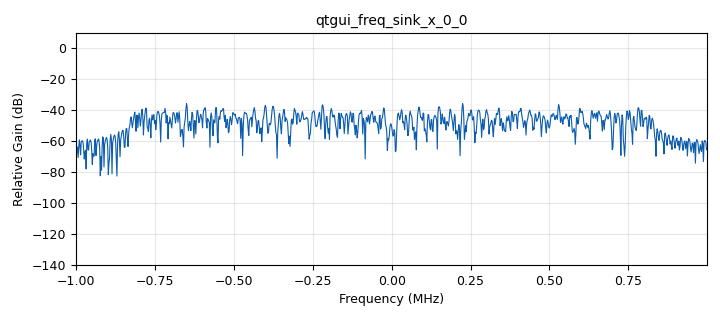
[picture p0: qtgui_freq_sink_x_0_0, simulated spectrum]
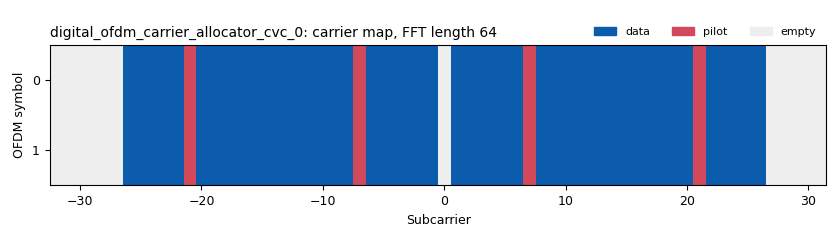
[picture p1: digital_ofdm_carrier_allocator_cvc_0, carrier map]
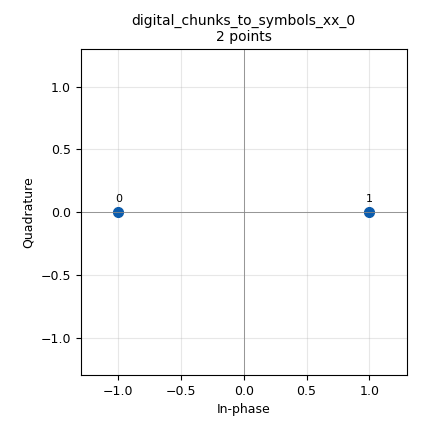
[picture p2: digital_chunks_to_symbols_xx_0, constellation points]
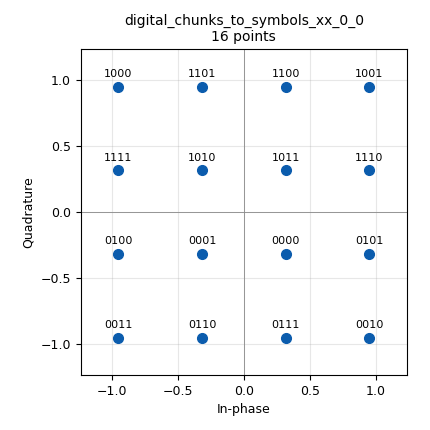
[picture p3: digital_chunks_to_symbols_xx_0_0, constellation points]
options:
  parameters:
    category: Custom
    description: Example of an OFDM receiver
    generate_options: qt_gui
    id: tx_rx_ofdm
    output_language: python
    title: OFDM Tx Rx
  states: {}

blocks:
- name: central_freq
  id: variable
  parameters:
    value: '500000000'
  states: {}
- name: fft_len
  id: variable
  parameters:
    value: '64'
  states: {}
- name: hdr_format
  id: variable
  parameters:
    value: digital.header_format_ofdm(occupied_carriers, 1, length_tag_key,)
  states: {}
- name: header_equalizer
  id: variable
  parameters:
    value: digital.ofdm_equalizer_simpledfe(fft_len, header_mod.base(), occupied_carriers, pilot_carriers, pilot_symbols)
  states: {}
- name: header_formatter
  id: variable
  parameters:
    value: digital.packet_header_ofdm(occupied_carriers, n_syms=1, len_tag_key=packet_length_tag_key, frame_len_tag_key=length_tag_key, bits_per_header_sym=header_mod.bits_per_symbol(), bits_per_payload_sym=payload_mod.bits_per_symbol(), scramble_header=False)
  states: {}
- name: header_mod
  id: variable
  parameters:
    value: digital.constellation_bpsk()
  states: {}
- name: length_tag_key
  id: variable
  parameters:
    value: '"frame_len"'
  states: {}
- name: occupied_carriers
  id: variable
  parameters:
    value: (list(range(-26, -21)) + list(range(-20, -7)) + list(range(-6, 0)) + list(range(1, 7)) + list(range(8, 21)) + list(range(22, 27)),)
  states: {}
- name: packet_len
  id: variable
  parameters:
    value: '96'
  states: {}
- name: packet_length_tag_key
  id: variable
  parameters:
    value: '"packet_len"'
  states: {}
- name: payload_equalizer
  id: variable
  parameters:
    value: digital.ofdm_equalizer_simpledfe(fft_len, payload_mod.base(), occupied_carriers, pilot_carriers, pilot_symbols, 1)
  states: {}
- name: payload_mod
  id: variable
  parameters:
    value: digital.constellation_16qam()
  states: {}
- name: pilot_carriers
  id: variable
  parameters:
    value: ((-21, -7, 7, 21,),)
  states: {}
- name: pilot_symbols
  id: variable
  parameters:
    value: ((1, 1, 1, -1,),)
  states: {}
- name: samp_rate
  id: variable
  parameters:
    value: '2000000'
  states: {}
- name: sync_word1
  id: variable
  parameters:
    value: '[0., 0., 0., 0., 0., 0., 0., 1.41421356, 0., -1.41421356, 0., 1.41421356, 0., -1.41421356, 0., -1.41421356, 0., -1.41421356, 0., 1.41421356, 0., -1.41421356, 0., 1.41421356, 0., -1.41421356, 0., -1.41421356, 0., -1.41421356, 0., -1.41421356, 0., 1.41421356, 0., -1.41421356, 0., 1.41421356, 0., 1.41421356, 0., 1.41421356, 0., -1.41421356, 0., 1.41421356, 0., 1.41421356, 0., 1.41421356, 0., -1.41421356, 0., 1.41421356, 0., 1.41421356, 0., 1.41421356, 0., 0., 0., 0., 0., 0.]'
  states: {}
- name: sync_word2
  id: variable
  parameters:
    value: '[0j, 0j, 0j, 0j, 0j, 0j, (-1+0j), (-1+0j), (-1+0j), (-1+0j), (1+0j), (1+0j), (-1+0j), (-1+0j), (-1+0j), (1+0j), (-1+0j), (1+0j), (1+0j), (1 +0j), (1+0j), (1+0j), (-1+0j), (-1+0j), (-1+0j), (-1+0j), (-1+0j), (1+0j), (-1+0j), (-1+0j), (1+0j), (-1+0j), 0j, (1+0j), (-1+0j), (1+0j), (1+0j), (1+0j), (-1+0j), (1+0j), (1+0j), (1+0j), (-1+0j), (1+0j), (1+0j), (1+0j), (1+0j), (-1+0j), (1+0j), (-1+0j), (-1+0j), (-1+0j), (1+0j), (-1+0j), (1+0j), (-1+0j), (-1+0j), (-1+0j), (-1+0j), 0j, 0j, 0j, 0j, 0j]'
  states: {}
- name: analog_frequency_modulator_fc_0
  id: analog_frequency_modulator_fc
  parameters:
    sensitivity: '-2.0/fft_len'
  states: {}
- name: analog_random_source_x_0
  id: analog_random_source_x
  parameters:
    max: '255'
    min: '0'
    num_samps: '19968'
    repeat: 'False'
    type: byte
  states: {}
- name: blocks_char_to_float_0
  id: blocks_char_to_float
  parameters:
    scale: '1'
  states: {}
- name: blocks_delay_0
  id: blocks_delay
  parameters:
    delay: fft_len+fft_len//4
    type: complex
  states: {}
- name: blocks_file_sink_0
  id: blocks_file_sink
  parameters:
    file: C:\Users\burke\OneDrive\Desktop\Uni\4E2\data_rx.txt
    type: byte
  states: {}
- name: blocks_file_sink_0_0
  id: blocks_file_sink
  parameters:
    file: C:\Users\burke\OneDrive\Desktop\Uni\4E2\data_tx.txt
    type: byte
  states: {}
- name: blocks_file_sink_0_0_0
  id: blocks_file_sink
  parameters:
    file: C:\Users\burke\OneDrive\Desktop\Uni\4E2\data_tx_packed.txt
    type: byte
  states: {}
- name: blocks_file_sink_0_0_0_0
  id: blocks_file_sink
  parameters:
    file: C:\Users\burke\OneDrive\Desktop\Uni\4E2\data_tx_symbols.txt
    type: complex
  states: {}
- name: blocks_file_sink_0_0_0_0_0
  id: blocks_file_sink
  parameters:
    file: C:\Users\burke\OneDrive\Desktop\Uni\4E2\tx_frames.txt
    type: complex
  states: {}
- name: blocks_file_sink_0_0_0_0_0_0
  id: blocks_file_sink
  parameters:
    file: C:\Users\burke\OneDrive\Desktop\Uni\4E2\tx_frames_time.txt
    type: complex
  states: {}
- name: blocks_file_sink_0_0_0_0_0_0_0
  id: blocks_file_sink
  parameters:
    file: C:\Users\burke\OneDrive\Desktop\Uni\4E2\rx_frames_time.txt
    type: complex
  states: {}
- name: blocks_file_sink_0_0_1
  id: blocks_file_sink
  parameters:
    file: C:\Users\burke\OneDrive\Desktop\Uni\4E2\data_tx_crc.txt
    type: byte
  states: {}
- name: blocks_file_sink_0_1
  id: blocks_file_sink
  parameters:
    file: C:\Users\burke\OneDrive\Desktop\Uni\4E2\data_rx_stream.txt
    type: byte
  states: {}
- name: blocks_file_sink_0_1_0
  id: blocks_file_sink
  parameters:
    file: C:\Users\burke\OneDrive\Desktop\Uni\4E2\data_rx_symbols.txt
    type: complex
  states: {}
- name: blocks_file_sink_0_1_1
  id: blocks_file_sink
  parameters:
    file: C:\Users\burke\OneDrive\Desktop\Uni\4E2\data_rx_crc.txt
    type: byte
  states: {}
- name: blocks_multiply_const_vxx_0
  id: blocks_multiply_const_vxx
  parameters:
    const: '0.05'
    type: complex
  states: {}
- name: blocks_multiply_xx_0
  id: blocks_multiply_xx
  parameters:
    type: complex
  states: {}
- name: blocks_repack_bits_bb_0
  id: blocks_repack_bits_bb
  parameters:
    align_output: 'True'
    endianness: gr.GR_LSB_FIRST
    k: payload_mod.bits_per_symbol()
    l: '8'
    len_tag_key: packet_length_tag_key
  states: {}
- name: blocks_repack_bits_bb_1
  id: blocks_repack_bits_bb
  parameters:
    endianness: gr.GR_LSB_FIRST
    k: '8'
    l: payload_mod.bits_per_symbol()
    len_tag_key: packet_length_tag_key
  states: {}
- name: blocks_repack_bits_bb_1_0
  id: blocks_repack_bits_bb
  parameters:
    endianness: gr.GR_LSB_FIRST
    k: '8'
    l: '1'
    len_tag_key: packet_length_tag_key
  states: {}
- name: blocks_stream_to_tagged_stream_0
  id: blocks_stream_to_tagged_stream
  parameters:
    len_tag_key: packet_length_tag_key
    packet_len: packet_len
    type: byte
  states: {}
- name: blocks_tag_debug_1
  id: blocks_tag_debug
  parameters:
    filter: packet_length_tag_key
    name: Rx Bytes
    type: byte
  states: {}
- name: blocks_tag_gate_0
  id: blocks_tag_gate
  parameters:
    propagate_tags: 'False'
    type: complex
  states: {}
- name: blocks_tagged_stream_mux_0
  id: blocks_tagged_stream_mux
  parameters:
    lengthtagname: packet_length_tag_key
    ninputs: '2'
    type: complex
  states: {}
- name: blocks_throttle_0
  id: blocks_throttle
  parameters:
    samples_per_second: samp_rate
    type: complex
  states: {state: disabled}
- name: blocks_vector_to_stream_0
  id: blocks_vector_to_stream
  parameters:
    num_items: '64'
    type: complex
  states: {}
- name: channels_channel_model_0
  id: channels_channel_model
  parameters:
    epsilon: '1.0'
    freq_offset: '0.0'
    noise_voltage: '0.0'
    seed: '0'
    taps: 0.7+ 0.7j
  states: {state: disabled}
- name: digital_chunks_to_symbols_xx_0
  id: digital_chunks_to_symbols_xx
  parameters:
    dimension: '1'
    in_type: byte
    out_type: complex
    symbol_table: header_mod.points()
  states: {}
- name: digital_chunks_to_symbols_xx_0_0
  id: digital_chunks_to_symbols_xx
  parameters:
    dimension: '1'
    in_type: byte
    out_type: complex
    symbol_table: payload_mod.points()
  states: {}
- name: digital_constellation_decoder_cb_0
  id: digital_constellation_decoder_cb
  parameters:
    constellation: header_mod.base()
  states: {}
- name: digital_constellation_decoder_cb_1
  id: digital_constellation_decoder_cb
  parameters:
    constellation: payload_mod.base()
  states: {}
- name: digital_crc32_bb_0
  id: digital_crc32_bb
  parameters:
    check: 'True'
    lengthtagname: packet_length_tag_key
    packed: 'True'
  states: {}
- name: digital_crc32_bb_1
  id: digital_crc32_bb
  parameters:
    check: 'False'
    lengthtagname: packet_length_tag_key
    packed: 'True'
  states: {}
- name: digital_header_payload_demux_0
  id: digital_header_payload_demux
  parameters:
    guard_interval: fft_len//4
    header_len: '3'
    header_padding: '0'
    items_per_symbol: fft_len
    length_tag_key: length_tag_key
    output_symbols: 'True'
    samp_rate: samp_rate
    special_tags: ()
    timing_tag_key: '"rx_time"'
    type: complex
  states: {}
- name: digital_ofdm_carrier_allocator_cvc_0
  id: digital_ofdm_carrier_allocator_cvc
  parameters:
    fft_len: fft_len
    len_tag_key: packet_length_tag_key
    occupied_carriers: occupied_carriers
    output_is_shifted: 'True'
    pilot_carriers: pilot_carriers
    pilot_symbols: pilot_symbols
    sync_words: (sync_word1, sync_word2)
  states: {}
- name: digital_ofdm_chanest_vcvc_0
  id: digital_ofdm_chanest_vcvc
  parameters:
    force_one_symbol: 'False'
    max_carr_offset: '3'
    n_data_symbols: '1'
    sync_symbol1: sync_word1
    sync_symbol2: sync_word2
  states: {}
- name: digital_ofdm_cyclic_prefixer_0
  id: digital_ofdm_cyclic_prefixer
  parameters:
    cp_len: fft_len//4
    input_size: fft_len
    tagname: packet_length_tag_key
  states: {}
- name: digital_ofdm_frame_equalizer_vcvc_0
  id: digital_ofdm_frame_equalizer_vcvc
  parameters:
    cp_len: fft_len//4
    equalizer: header_equalizer.base()
    fft_len: fft_len
    fixed_frame_len: '1'
    len_tag_key: length_tag_key
    propagate_channel_state: 'True'
  states: {}
- name: digital_ofdm_frame_equalizer_vcvc_1
  id: digital_ofdm_frame_equalizer_vcvc
  parameters:
    cp_len: fft_len//4
    equalizer: payload_equalizer.base()
    fft_len: fft_len
    len_tag_key: length_tag_key
    propagate_channel_state: 'True'
  states: {}
- name: digital_ofdm_serializer_vcc_header
  id: digital_ofdm_serializer_vcc
  parameters:
    carr_offset_key: ''
    fft_len: fft_len
    len_tag_key: length_tag_key
    occupied_carriers: occupied_carriers
    packet_len_tag_key: ''
  states: {}
- name: digital_ofdm_serializer_vcc_payload
  id: digital_ofdm_serializer_vcc
  parameters:
    carr_offset_key: ''
    fft_len: fft_len
    len_tag_key: length_tag_key
    occupied_carriers: occupied_carriers
    packet_len_tag_key: packet_length_tag_key
    symbols_skipped: '1'
  states: {}
- name: digital_ofdm_sync_sc_cfb_0
  id: digital_ofdm_sync_sc_cfb
  parameters:
    cp_len: fft_len//4
    fft_len: fft_len
    threshold: '0.99'
  states: {}
- name: digital_packet_headerparser_b_0
  id: digital_packet_headerparser_b
  parameters:
    header_formatter: header_formatter.base()
  states: {}
- name: digital_protocol_formatter_bb_0
  id: digital_protocol_formatter_bb
  parameters:
    format: hdr_format
    len_tag_key: packet_length_tag_key
  states: {}
- name: fft_vxx_0
  id: fft_vxx
  parameters:
    fft_size: fft_len
    forward: 'True'
    shift: 'True'
    type: complex
    window: ()
  states: {}
- name: fft_vxx_1
  id: fft_vxx
  parameters:
    fft_size: fft_len
    forward: 'True'
    shift: 'True'
    type: complex
    window: ()
  states: {}
- name: fft_vxx_2
  id: fft_vxx
  parameters:
    fft_size: fft_len
    forward: 'False'
    shift: 'True'
    type: complex
    window: ()
  states: {}
- name: import_1
  id: import
  parameters:
    imports: from gnuradio.digital.utils import tagged_streams
  states: {}
- name: qtgui_const_sink_x_0
  id: qtgui_const_sink_x
  parameters:
    size: '1024'
    type: complex
  states: {}
- name: qtgui_freq_sink_x_0
  id: qtgui_freq_sink_x
  parameters:
    autoscale: 'True'
    average: '0.05'
    bw: samp_rate
    ctrlpanel: 'True'
    fc: '0'
    fftsize: '1024'
    grid: 'True'
    type: complex
  states: {}
- name: qtgui_freq_sink_x_0_0
  id: qtgui_freq_sink_x
  parameters:
    bw: samp_rate
    fc: '0'
    fftsize: '1024'
    grid: 'True'
    type: complex
  states: {}
- name: qtgui_time_sink_x_0
  id: qtgui_time_sink_x
  parameters:
    autoscale: 'True'
    ctrlpanel: 'True'
    grid: 'True'
    size: '1024'
    srate: samp_rate
    type: float
  states: {}
- name: uhd_usrp_sink_1
  id: uhd_usrp_sink
  parameters:
    ant0: '"TX/RX"'
    center_freq0: central_freq
    clock_source0: internal
    dev_addr: '"addr=192.168.1.6"'
    dev_args: '"send_frame_size=8192,recv_frame_size=8192"'
    gain0: '0'
    samp_rate: samp_rate
    sync: pc_clock
    type: fc32
  states: {}
- name: uhd_usrp_source_0
  id: uhd_usrp_source
  parameters:
    ant0: '"TX/RX"'
    center_freq0: central_freq
    clock_source0: internal
    dev_addr: '"addr=192.168.1.6"'
    dev_args: '"send_frame_size=8192,recv_frame_size=8192"'
    gain0: '10'
    rx_agc0: Disabled
    samp_rate: samp_rate
    sync: gps_time
    type: fc32
  states: {}
- name: virtual_sink_0
  id: virtual_sink
  parameters:
    stream_id: Header Stream
  states: {}
- name: virtual_sink_1
  id: virtual_sink
  parameters:
    stream_id: Payload Stream
  states: {}
- name: virtual_sink_1_0
  id: virtual_sink
  parameters:
    stream_id: Payload IQ
  states: {}
- name: virtual_sink_2_0
  id: virtual_sink
  parameters:
    stream_id: Header Bits
  states: {}
- name: virtual_sink_2_0_0
  id: virtual_sink
  parameters:
    stream_id: Payload Bits
  states: {}
- name: virtual_source_0
  id: virtual_source
  parameters:
    stream_id: Header Stream
  states: {}
- name: virtual_source_0_0
  id: virtual_source
  parameters:
    stream_id: Payload IQ
  states: {}
- name: virtual_source_1
  id: virtual_source
  parameters:
    stream_id: Payload Stream
  states: {}
- name: virtual_source_2_0
  id: virtual_source
  parameters:
    stream_id: Payload Bits
  states: {}
- name: virtual_source_2_0_0
  id: virtual_source
  parameters:
    stream_id: Header Bits
  states: {}

connections:
- [analog_frequency_modulator_fc_0, '0', blocks_multiply_xx_0, '0']
- [analog_random_source_x_0, '0', blocks_file_sink_0_0, '0']
- [analog_random_source_x_0, '0', blocks_stream_to_tagged_stream_0, '0']
- [blocks_char_to_float_0, '0', qtgui_time_sink_x_0, '0']
- [blocks_delay_0, '0', blocks_multiply_xx_0, '1']
- [blocks_multiply_const_vxx_0, '0', blocks_tag_gate_0, '0']
- [blocks_multiply_xx_0, '0', digital_header_payload_demux_0, '0']
- [blocks_repack_bits_bb_0, '0', blocks_char_to_float_0, '0']
- [blocks_repack_bits_bb_0, '0', blocks_file_sink_0_1_1, '0']
- [blocks_repack_bits_bb_0, '0', digital_crc32_bb_0, '0']
- [blocks_repack_bits_bb_1, '0', blocks_file_sink_0_0_0, '0']
- [blocks_repack_bits_bb_1, '0', virtual_sink_2_0_0, '0']
- [blocks_repack_bits_bb_1_0, '0', virtual_sink_2_0, '0']
- [blocks_stream_to_tagged_stream_0, '0', digital_crc32_bb_1, '0']
- [blocks_tag_gate_0, '0', blocks_file_sink_0_0_0_0_0_0, '0']
- [blocks_tag_gate_0, '0', blocks_throttle_0, '0']
- [blocks_tag_gate_0, '0', qtgui_freq_sink_x_0_0, '0']
- [blocks_tag_gate_0, '0', uhd_usrp_sink_1, '0']
- [blocks_tagged_stream_mux_0, '0', blocks_file_sink_0_0_0_0_0, '0']
- [blocks_tagged_stream_mux_0, '0', digital_ofdm_carrier_allocator_cvc_0, '0']
- [blocks_throttle_0, '0', channels_channel_model_0, '0']
- [blocks_vector_to_stream_0, '0', blocks_file_sink_0_0_0_0_0_0_0, '0']
- [channels_channel_model_0, '0', blocks_delay_0, '0']
- [channels_channel_model_0, '0', digital_ofdm_sync_sc_cfb_0, '0']
- [channels_channel_model_0, '0', qtgui_freq_sink_x_0, '0']
- [digital_chunks_to_symbols_xx_0, '0', blocks_tagged_stream_mux_0, '0']
- [digital_chunks_to_symbols_xx_0_0, '0', blocks_file_sink_0_0_0_0, '0']
- [digital_chunks_to_symbols_xx_0_0, '0', blocks_tagged_stream_mux_0, '1']
- [digital_constellation_decoder_cb_0, '0', digital_packet_headerparser_b_0, '0']
- [digital_constellation_decoder_cb_1, '0', blocks_file_sink_0_1, '0']
- [digital_constellation_decoder_cb_1, '0', blocks_repack_bits_bb_0, '0']
- [digital_crc32_bb_0, '0', blocks_file_sink_0, '0']
- [digital_crc32_bb_0, '0', blocks_tag_debug_1, '0']
- [digital_crc32_bb_1, '0', blocks_file_sink_0_0_1, '0']
- [digital_crc32_bb_1, '0', blocks_repack_bits_bb_1, '0']
- [digital_crc32_bb_1, '0', digital_protocol_formatter_bb_0, '0']
- [digital_header_payload_demux_0, '0', virtual_sink_0, '0']
- [digital_header_payload_demux_0, '1', blocks_vector_to_stream_0, '0']
- [digital_header_payload_demux_0, '1', virtual_sink_1, '0']
- [digital_ofdm_carrier_allocator_cvc_0, '0', fft_vxx_2, '0']
- [digital_ofdm_chanest_vcvc_0, '0', digital_ofdm_frame_equalizer_vcvc_0, '0']
- [digital_ofdm_cyclic_prefixer_0, '0', blocks_multiply_const_vxx_0, '0']
- [digital_ofdm_frame_equalizer_vcvc_0, '0', digital_ofdm_serializer_vcc_header, '0']
- [digital_ofdm_frame_equalizer_vcvc_1, '0', digital_ofdm_serializer_vcc_payload, '0']
- [digital_ofdm_serializer_vcc_header, '0', digital_constellation_decoder_cb_0, '0']
- [digital_ofdm_serializer_vcc_payload, '0', blocks_file_sink_0_1_0, '0']
- [digital_ofdm_serializer_vcc_payload, '0', qtgui_const_sink_x_0, '0']
- [digital_ofdm_serializer_vcc_payload, '0', virtual_sink_1_0, '0']
- [digital_ofdm_sync_sc_cfb_0, '0', analog_frequency_modulator_fc_0, '0']
- [digital_ofdm_sync_sc_cfb_0, '1', digital_header_payload_demux_0, '1']
- [digital_packet_headerparser_b_0, header_data, digital_header_payload_demux_0, header_data]
- [digital_protocol_formatter_bb_0, '0', blocks_repack_bits_bb_1_0, '0']
- [fft_vxx_0, '0', digital_ofdm_chanest_vcvc_0, '0']
- [fft_vxx_1, '0', digital_ofdm_frame_equalizer_vcvc_1, '0']
- [fft_vxx_2, '0', digital_ofdm_cyclic_prefixer_0, '0']
- [uhd_usrp_source_0, '0', blocks_delay_0, '0']
- [uhd_usrp_source_0, '0', digital_ofdm_sync_sc_cfb_0, '0']
- [uhd_usrp_source_0, '0', qtgui_freq_sink_x_0, '0']
- [virtual_source_0, '0', fft_vxx_0, '0']
- [virtual_source_0_0, '0', digital_constellation_decoder_cb_1, '0']
- [virtual_source_1, '0', fft_vxx_1, '0']
- [virtual_source_2_0, '0', digital_chunks_to_symbols_xx_0_0, '0']
- [virtual_source_2_0_0, '0', digital_chunks_to_symbols_xx_0, '0']

metadata:
  file_format: 1
  grc_version: 3.10.4.0
